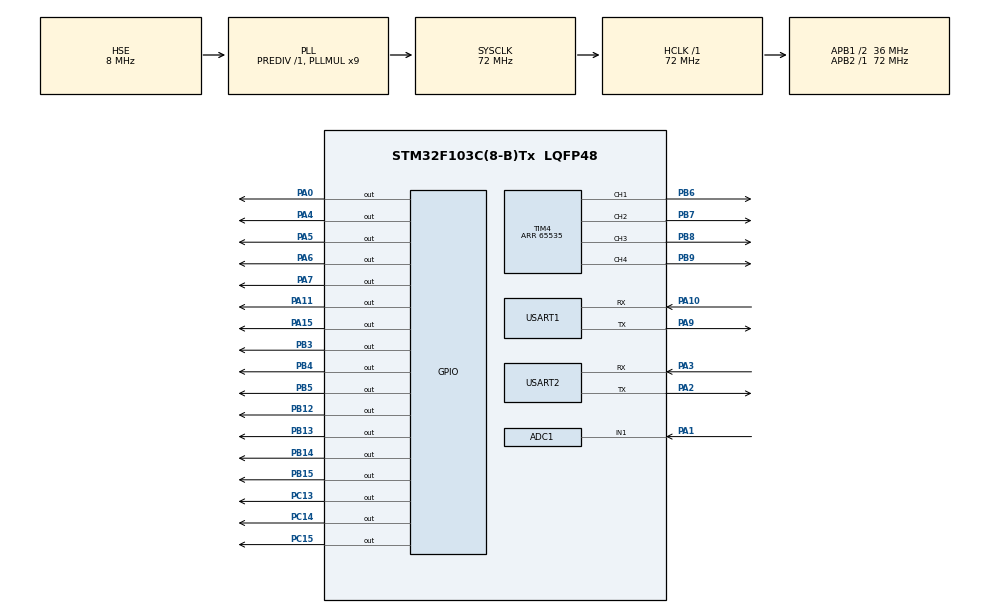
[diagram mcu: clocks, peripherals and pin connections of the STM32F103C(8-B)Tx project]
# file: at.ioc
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ADC1.Channel-0\#ChannelRegularConversion=ADC_CHANNEL_1
ADC1.ContinuousConvMode=ENABLE
ADC1.NbrOfConversionFlag=1
ADC1.Rank-0\#ChannelRegularConversion=1
ADC1.SamplingTime-0\#ChannelRegularConversion=ADC_SAMPLETIME_1CYCLE_5
ADC1.master=1
Mcu.Family=STM32F1
Mcu.Name=STM32F103C(8-B)Tx
Mcu.Package=LQFP48
NVIC.PriorityGroup=NVIC_PRIORITYGROUP_4
PA0-WKUP.Signal=GPIO_Output
PA1.Signal=ADCx_IN1
PA10.Mode=Asynchronous
PA10.Signal=USART1_RX
PA11.Signal=GPIO_Output
PA13.Mode=Serial_Wire
PA13.Signal=SYS_JTMS-SWDIO
PA14.Mode=Serial_Wire
PA14.Signal=SYS_JTCK-SWCLK
PA15.Signal=GPIO_Output
PA2.Mode=Asynchronous
PA2.Signal=USART2_TX
PA3.Mode=Asynchronous
PA3.Signal=USART2_RX
PA4.Signal=GPIO_Output
PA5.Signal=GPIO_Output
PA6.Signal=GPIO_Output
PA7.Signal=GPIO_Output
PA9.Mode=Asynchronous
PA9.Signal=USART1_TX
PB12.Signal=GPIO_Output
PB13.Signal=GPIO_Output
PB14.Signal=GPIO_Output
PB15.Signal=GPIO_Output
PB3.Signal=GPIO_Output
PB4.Signal=GPIO_Output
PB5.Signal=GPIO_Output
PB6.Signal=S_TIM4_CH1
PB7.Signal=S_TIM4_CH2
PB8.Signal=S_TIM4_CH3
PB9.Signal=S_TIM4_CH4
PC13-TAMPER-RTC.Signal=GPIO_Output
PC14-OSC32_IN.Signal=GPIO_Output
PC15-OSC32_OUT.Signal=GPIO_Output
PD0-OSC_IN.Mode=HSE-External-Oscillator
PD0-OSC_IN.Signal=RCC_OSC_IN
PD1-OSC_OUT.Mode=HSE-External-Oscillator
PD1-OSC_OUT.Signal=RCC_OSC_OUT
ProjectManager.HeapSize=0x200
ProjectManager.StackSize=0x400
ProjectManager.TargetToolchain=MDK-ARM V5
RCC.AHBFreq_Value=72000000
RCC.APB1CLKDivider=RCC_HCLK_DIV2
RCC.APB1Freq_Value=36000000
RCC.APB1TimFreq_Value=72000000
RCC.APB2Freq_Value=72000000
RCC.APB2TimFreq_Value=72000000
RCC.HCLKFreq_Value=72000000
RCC.PLLMUL=RCC_PLL_MUL9
RCC.PLLSourceVirtual=RCC_PLLSOURCE_HSE
RCC.SYSCLKFreq_VALUE=72000000
RCC.SYSCLKSource=RCC_SYSCLKSOURCE_PLLCLK
RCC.USBFreq_Value=72000000
SH.ADCx_IN1.0=ADC1_IN1,IN1
SH.S_TIM4_CH1.0=TIM4_CH1,PWM Generation1 CH1
SH.S_TIM4_CH2.0=TIM4_CH2,PWM Generation2 CH2
SH.S_TIM4_CH3.0=TIM4_CH3,PWM Generation3 CH3
SH.S_TIM4_CH4.0=TIM4_CH4,PWM Generation4 CH4
TIM4.Channel-PWM\ Generation1\ CH1=TIM_CHANNEL_1
TIM4.Channel-PWM\ Generation2\ CH2=TIM_CHANNEL_2
TIM4.Channel-PWM\ Generation3\ CH3=TIM_CHANNEL_3
TIM4.Channel-PWM\ Generation4\ CH4=TIM_CHANNEL_4
TIM4.Period=65535
TIM4.Pulse-PWM\ Generation3\ CH3=0
USART1.VirtualMode=VM_ASYNC
USART2.VirtualMode=VM_ASYNC
VP_TIM4_VS_ClockSourceINT.Mode=Internal
board=custom

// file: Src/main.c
/* USER CODE BEGIN Header */
/**
  ******************************************************************************
  * @file           : main.c
  * @brief          : Main program body
  ******************************************************************************
  * @attention
  *
  * <h2><center>&copy; Copyright (c) 2020 STMicroelectronics.
  * All rights reserved.</center></h2>
  *
  * This software component is licensed by ST under BSD 3-Clause license,
  * the "License"; You may not use this file except in compliance with the
  * License. You may obtain a copy of the License at:
  *                        opensource.org/licenses/BSD-3-Clause
  *
  ******************************************************************************
  */
/* USER CODE END Header */

#include "main.h"

ADC_HandleTypeDef hadc1;

TIM_HandleTypeDef htim4;

UART_HandleTypeDef huart1;
UART_HandleTypeDef huart2;

void SystemClock_Config(void);
static void MX_GPIO_Init(void);
static void MX_TIM4_Init(void);
static void MX_USART2_UART_Init(void);
static void MX_USART1_UART_Init(void);
static void MX_ADC1_Init(void);
/* USER CODE BEGIN PFP */

uint8_t buffer,buffer2[3],s,k,d,distance;
int32_t l1,l2,r1,r2;
uint8_t data[];
/* USER CODE END PFP */

/* USER CODE BEGIN 0 */
uint16_t read_adc(int index)
{
	HAL_GPIO_WritePin(GPIOC,GPIO_PIN_14,(index/8)%2); //D
	HAL_GPIO_WritePin(GPIOC,GPIO_PIN_13,(index/4)%2); //C
	HAL_GPIO_WritePin(GPIOC,GPIO_PIN_15,(index/2)%2); //B
	HAL_GPIO_WritePin(GPIOA,GPIO_PIN_0 ,(index/1)%2); //A

	int chanel = 1;
	uint16_t val;
	ADC_ChannelConfTypeDef sconfig;
	sconfig.Channel = chanel;
	sconfig.Rank = 1;
	HAL_ADC_ConfigChannel(&hadc1,&sconfig);
	HAL_ADC_Start(&hadc1);

	HAL_ADC_PollForConversion(&hadc1,100);
	val = HAL_ADC_GetValue(&hadc1);
	HAL_ADC_Stop(&hadc1);
	return val;
}

void step(int32_t st)
	{
		d=20;
		if(st==0){
			HAL_GPIO_WritePin(GPIOA,GPIO_PIN_4,1);
			HAL_GPIO_WritePin(GPIOA,GPIO_PIN_5,0);
			HAL_GPIO_WritePin(GPIOA,GPIO_PIN_6,0);
			HAL_GPIO_WritePin(GPIOA,GPIO_PIN_7,0);
			HAL_Delay(50);
		}
		if(st==1){
			HAL_GPIO_WritePin(GPIOA,GPIO_PIN_4,1);
			HAL_GPIO_WritePin(GPIOA,GPIO_PIN_5,0);
			HAL_GPIO_WritePin(GPIOA,GPIO_PIN_6,1);
			HAL_GPIO_WritePin(GPIOA,GPIO_PIN_7,0);
			HAL_Delay(d);
		}
		if(st==2){
			HAL_GPIO_WritePin(GPIOA,GPIO_PIN_4,0);
			HAL_GPIO_WritePin(GPIOA,GPIO_PIN_5,0);
			HAL_GPIO_WritePin(GPIOA,GPIO_PIN_6,1);
			HAL_GPIO_WritePin(GPIOA,GPIO_PIN_7,0);
			HAL_Delay(d);
		}
		if(st==3){
			HAL_GPIO_WritePin(GPIOA,GPIO_PIN_4,0);
			HAL_GPIO_WritePin(GPIOA,GPIO_PIN_5,1);
			HAL_GPIO_WritePin(GPIOA,GPIO_PIN_6,1);
			HAL_GPIO_WritePin(GPIOA,GPIO_PIN_7,0);
			HAL_Delay(d);
		}
		if(st==4){
			HAL_GPIO_WritePin(GPIOA,GPIO_PIN_4,0);
			HAL_GPIO_WritePin(GPIOA,GPIO_PIN_5,1);
			HAL_GPIO_WritePin(GPIOA,GPIO_PIN_6,0);
			HAL_GPIO_WritePin(GPIOA,GPIO_PIN_7,0);
			HAL_Delay(d);
		}
		if(st==5){
			HAL_GPIO_WritePin(GPIOA,GPIO_PIN_4,0);
			HAL_GPIO_WritePin(GPIOA,GPIO_PIN_5,1);
			HAL_GPIO_WritePin(GPIOA,GPIO_PIN_6,0);
			HAL_GPIO_WritePin(GPIOA,GPIO_PIN_7,1);
			HAL_Delay(d);
		}
		if(st==6){
			HAL_GPIO_WritePin(GPIOA,GPIO_PIN_4,0);
			HAL_GPIO_WritePin(GPIOA,GPIO_PIN_5,0);
			HAL_GPIO_WritePin(GPIOA,GPIO_PIN_6,0);
			HAL_GPIO_WritePin(GPIOA,GPIO_PIN_7,1);
			HAL_Delay(d);
		}
		if(st==7){
			HAL_GPIO_WritePin(GPIOA,GPIO_PIN_4,1);
			HAL_GPIO_WritePin(GPIOA,GPIO_PIN_5,0);
			HAL_GPIO_WritePin(GPIOA,GPIO_PIN_6,0);
			HAL_GPIO_WritePin(GPIOA,GPIO_PIN_7,1);
			HAL_Delay(d);
		}
		if(st==8){
			HAL_GPIO_WritePin(GPIOA,GPIO_PIN_4,0);
			HAL_GPIO_WritePin(GPIOA,GPIO_PIN_5,0);
			HAL_GPIO_WritePin(GPIOA,GPIO_PIN_6,0);
			HAL_GPIO_WritePin(GPIOA,GPIO_PIN_7,0);
		}
	}
void ARM(int32_t arm1,int32_t arm2)
	{
			if(arm1==1)
			{
				HAL_GPIO_WritePin(GPIOB,GPIO_PIN_12,1);
				HAL_GPIO_WritePin(GPIOB,GPIO_PIN_13,0);
			}
			else if(arm1==-1)
			{
				HAL_GPIO_WritePin(GPIOB,GPIO_PIN_12,0);
				HAL_GPIO_WritePin(GPIOB,GPIO_PIN_13,1);
			}
				else if(arm1==0)
					{
				HAL_GPIO_WritePin(GPIOB,GPIO_PIN_12,1);
				HAL_GPIO_WritePin(GPIOB,GPIO_PIN_13,1);
			}
			///////////////////
			if(arm2==1)
			{
				HAL_GPIO_WritePin(GPIOB,GPIO_PIN_14,1);
				HAL_GPIO_WritePin(GPIOB,GPIO_PIN_15,0);
			}
			else if(arm2==-1)
			{
				HAL_GPIO_WritePin(GPIOB,GPIO_PIN_14,0);
				HAL_GPIO_WritePin(GPIOB,GPIO_PIN_15,1);
			}
				else if(arm2==0)
					{
				HAL_GPIO_WritePin(GPIOB,GPIO_PIN_14,1);
				HAL_GPIO_WritePin(GPIOB,GPIO_PIN_15,1);
			}

		}
void motor(int32_t mr1,int32_t mr2,int32_t ml2,int32_t ml1)
	{
		if(mr1>255)  		 mr1=255;
		if(mr2>255)  		 mr2=255;
		if(ml1>255)  		 ml1=255;
		if(ml2>255)  		 ml2=255;

		if(mr1<-255)  		 mr1=-255;
		if(mr2<-255)  		 mr2=-255;
		if(ml1<-255)  		 ml1=-255;
		if(ml2<-255)  		 ml2=-255;
		mr1 *= 65535/255;
		mr2 *= 65535/255;
		ml1 *= 65535/255;
		ml2 *= 65535/255;

		//////////////////////////////////
		if(mr1>0)
		{
			HAL_GPIO_WritePin(GPIOB,GPIO_PIN_5,0);
			TIM4->CCR4=mr1;
		}
		else
		{
			HAL_GPIO_WritePin(GPIOB,GPIO_PIN_5,1);
			TIM4->CCR4=65535+mr1;
		}

		//////////////////////////////
		if(mr2>0)
		{
			HAL_GPIO_WritePin(GPIOB,GPIO_PIN_4,0);
			TIM4->CCR3=mr2;
		}
		else
		{
			HAL_GPIO_WritePin(GPIOB,GPIO_PIN_4,1);
			TIM4->CCR3=65535+mr2;
		}

		///////////////////
		if(ml2>0)
		{
			HAL_GPIO_WritePin(GPIOB,GPIO_PIN_3,0);
			TIM4->CCR2=ml2;
		}
		else
		{
			HAL_GPIO_WritePin(GPIOB,GPIO_PIN_3,1);
			TIM4->CCR2=65535+ml2;
		}
		///////////////////
		if(ml1>0)
		{
			HAL_GPIO_WritePin(GPIOA,GPIO_PIN_15,0);
			TIM4->CCR1=ml1;
		}
		else
		{
			HAL_GPIO_WritePin(GPIOA,GPIO_PIN_15,1);
			TIM4->CCR1=65535+ml1;
		}
	}
/* USER CODE END 0 */

int main(void)
{

  /* MCU Configuration--------------------------------------------------------*/

  /* Reset of all peripherals, Initializes the Flash interface and the Systick. */
  HAL_Init();

  /* Configure the system clock */
  SystemClock_Config();

  /* Initialize all configured peripherals */
  MX_GPIO_Init();
  MX_TIM4_Init();
  MX_USART2_UART_Init();
  MX_USART1_UART_Init();
  MX_ADC1_Init();
  /* USER CODE BEGIN 2 */
		HAL_TIM_PWM_Start(&htim4,TIM_CHANNEL_1);
		HAL_TIM_PWM_Start(&htim4,TIM_CHANNEL_2);
		HAL_TIM_PWM_Start(&htim4,TIM_CHANNEL_3);
		HAL_TIM_PWM_Start(&htim4,TIM_CHANNEL_4);
		for(int i = 0; i < 5; i++)
		{
			HAL_GPIO_WritePin(GPIOA,GPIO_PIN_11,0);
			HAL_Delay(100);
			HAL_GPIO_WritePin(GPIOA,GPIO_PIN_11,1);
			HAL_Delay(100);
		}
  /* USER CODE END 2 */

  /* Infinite loop */
  while (1)
  {

    /* USER CODE BEGIN 3 */
		/*
		data[0] = (read_adc(1)/1000)%10 + '0';
		data[1] = (read_adc(1)/100)%10 + '0';
		data[2] = (read_adc(1)/10)%10 + '0';
		data[3] = (read_adc(1)/1)%10 + '0';
		data[4] = '\n';

		HAL_UART_Transmit(&huart1,data,5,100);
		HAL_Delay(1000);*/

		HAL_UART_Receive(&huart2,&buffer,1,PHY_FULLDUPLEX_100M);

		if(buffer == 'M'){
			HAL_UART_Receive(&huart2,&s,1,PHY_FULLDUPLEX_100M);
			HAL_UART_Receive(&huart2,&buffer,1,PHY_FULLDUPLEX_100M);
			if(s=='-') 			r1=-buffer;
			else  					r1=buffer;
		////////////////
			HAL_UART_Receive(&huart2,&s,1,PHY_FULLDUPLEX_100M);
			HAL_UART_Receive(&huart2,&buffer,1,PHY_FULLDUPLEX_100M);
			if(s=='-') 			r2=-buffer;
			else  					r2=buffer;
		////////////////
			HAL_UART_Receive(&huart2,&s,1,PHY_FULLDUPLEX_100M);
			HAL_UART_Receive(&huart2,&buffer,1,PHY_FULLDUPLEX_100M);
			if(s=='-') 			l2=-buffer;
			else  					l2=buffer;
		////////////////
			HAL_UART_Receive(&huart2,&s,1,PHY_FULLDUPLEX_100M);
			HAL_UART_Receive(&huart2,&buffer,1,PHY_FULLDUPLEX_100M);
			if(s=='-') 			l1=-buffer;
			else  					l1=buffer;
			HAL_UART_Receive(&huart2,&distance,1,PHY_FULLDUPLEX_100M);
			motor(r1,r2,l2,l1);
			if(distance != 0)
			{
				distance /= 3;
				int cnt = 0;
				while(cnt != distance)
				{
					while(read_adc(1) <1000);
					cnt++;
					if(cnt == distance) break;
					while(read_adc(1) >=1000);
					cnt++;
				}
				motor(0,0,0,0);
			}
			data[0] = 'N';
			HAL_UART_Transmit(&huart1,data,1,100);
		}
		else if(buffer == 'A'){
			HAL_UART_Receive(&huart2,&k,1,PHY_FULLDUPLEX_100M);
			if(k=='1')
			{
					HAL_UART_Receive(&huart2,&s,1,PHY_FULLDUPLEX_100M);
					HAL_UART_Receive(&huart2,&buffer,1,PHY_FULLDUPLEX_100M);
					if(s=='+')
						{
							for(int i=0;i<=buffer;i++)
							step(i%7);
						}
					else if(s=='-')
						{
							for(int i=buffer;i>=0;i--)
							step(i%7);
						}
					step(8);
			}
			//////////////////////////////

			else if(k=='2')
			{
					HAL_UART_Receive(&huart2,&buffer,1,PHY_FULLDUPLEX_100M);
					if(buffer=='L')
					{
						HAL_GPIO_WritePin(GPIOB,GPIO_PIN_12,1);
						HAL_GPIO_WritePin(GPIOB,GPIO_PIN_13,0);
					}
					else if(buffer=='R')
					{
						HAL_GPIO_WritePin(GPIOB,GPIO_PIN_12,0);
						HAL_GPIO_WritePin(GPIOB,GPIO_PIN_13,1);
					}
					else if(buffer=='S')
					{
						HAL_GPIO_WritePin(GPIOB,GPIO_PIN_12,1);
						HAL_GPIO_WritePin(GPIOB,GPIO_PIN_13,1);
					}
			}
			//////////////////
			else if(k=='3')
			{
					HAL_UART_Receive(&huart2,&buffer,1,PHY_FULLDUPLEX_100M);
					if(buffer=='L')
					{
						HAL_GPIO_WritePin(GPIOB,GPIO_PIN_14,0);
						HAL_GPIO_WritePin(GPIOB,GPIO_PIN_15,1);
					}
					else if(buffer=='R')
					{
						HAL_GPIO_WritePin(GPIOB,GPIO_PIN_14,1);
						HAL_GPIO_WritePin(GPIOB,GPIO_PIN_15,0);
					}
					else if(buffer=='S')
					{
						HAL_GPIO_WritePin(GPIOB,GPIO_PIN_14,1);
						HAL_GPIO_WritePin(GPIOB,GPIO_PIN_15,1);
					}
			}

		}
  }
  /* USER CODE END 3 */
}

void SystemClock_Config(void)
{
  RCC_OscInitTypeDef RCC_OscInitStruct = {0};
  RCC_ClkInitTypeDef RCC_ClkInitStruct = {0};
  RCC_PeriphCLKInitTypeDef PeriphClkInit = {0};

  /** Initializes the CPU, AHB and APB busses clocks
  */
  RCC_OscInitStruct.OscillatorType = RCC_OSCILLATORTYPE_HSE;
  RCC_OscInitStruct.HSEState = RCC_HSE_ON;
  RCC_OscInitStruct.HSEPredivValue = RCC_HSE_PREDIV_DIV1;
  RCC_OscInitStruct.HSIState = RCC_HSI_ON;
  RCC_OscInitStruct.PLL.PLLState = RCC_PLL_ON;
  RCC_OscInitStruct.PLL.PLLSource = RCC_PLLSOURCE_HSE;
  RCC_OscInitStruct.PLL.PLLMUL = RCC_PLL_MUL9;
  if (HAL_RCC_OscConfig(&RCC_OscInitStruct) != HAL_OK)
  {
    Error_Handler();
  }
  /** Initializes the CPU, AHB and APB busses clocks
  */
  RCC_ClkInitStruct.ClockType = RCC_CLOCKTYPE_HCLK|RCC_CLOCKTYPE_SYSCLK
                              |RCC_CLOCKTYPE_PCLK1|RCC_CLOCKTYPE_PCLK2;
  RCC_ClkInitStruct.SYSCLKSource = RCC_SYSCLKSOURCE_PLLCLK;
  RCC_ClkInitStruct.AHBCLKDivider = RCC_SYSCLK_DIV1;
  RCC_ClkInitStruct.APB1CLKDivider = RCC_HCLK_DIV2;
  RCC_ClkInitStruct.APB2CLKDivider = RCC_HCLK_DIV1;

  if (HAL_RCC_ClockConfig(&RCC_ClkInitStruct, FLASH_LATENCY_2) != HAL_OK)
  {
    Error_Handler();
  }
  PeriphClkInit.PeriphClockSelection = RCC_PERIPHCLK_ADC;
  PeriphClkInit.AdcClockSelection = RCC_ADCPCLK2_DIV2;
  if (HAL_RCCEx_PeriphCLKConfig(&PeriphClkInit) != HAL_OK)
  {
    Error_Handler();
  }
}

static void MX_ADC1_Init(void)
{

  ADC_ChannelConfTypeDef sConfig = {0};

  /** Common config
  */
  hadc1.Instance = ADC1;
  hadc1.Init.ScanConvMode = ADC_SCAN_DISABLE;
  hadc1.Init.ContinuousConvMode = ENABLE;
  hadc1.Init.DiscontinuousConvMode = DISABLE;
  hadc1.Init.ExternalTrigConv = ADC_SOFTWARE_START;
  hadc1.Init.DataAlign = ADC_DATAALIGN_RIGHT;
  hadc1.Init.NbrOfConversion = 1;
  if (HAL_ADC_Init(&hadc1) != HAL_OK)
  {
    Error_Handler();
  }
  /** Configure Regular Channel
  */
  sConfig.Channel = ADC_CHANNEL_1;
  sConfig.Rank = ADC_REGULAR_RANK_1;
  sConfig.SamplingTime = ADC_SAMPLETIME_1CYCLE_5;
  if (HAL_ADC_ConfigChannel(&hadc1, &sConfig) != HAL_OK)
  {
    Error_Handler();
  }

}

static void MX_TIM4_Init(void)
{

  TIM_ClockConfigTypeDef sClockSourceConfig = {0};
  TIM_MasterConfigTypeDef sMasterConfig = {0};
  TIM_OC_InitTypeDef sConfigOC = {0};

  htim4.Instance = TIM4;
  htim4.Init.Prescaler = 0;
  htim4.Init.CounterMode = TIM_COUNTERMODE_UP;
  htim4.Init.Period = 65535;
  htim4.Init.ClockDivision = TIM_CLOCKDIVISION_DIV1;
  htim4.Init.AutoReloadPreload = TIM_AUTORELOAD_PRELOAD_DISABLE;
  if (HAL_TIM_Base_Init(&htim4) != HAL_OK)
  {
    Error_Handler();
  }
  sClockSourceConfig.ClockSource = TIM_CLOCKSOURCE_INTERNAL;
  if (HAL_TIM_ConfigClockSource(&htim4, &sClockSourceConfig) != HAL_OK)
  {
    Error_Handler();
  }
  if (HAL_TIM_PWM_Init(&htim4) != HAL_OK)
  {
    Error_Handler();
  }
  sMasterConfig.MasterOutputTrigger = TIM_TRGO_RESET;
  sMasterConfig.MasterSlaveMode = TIM_MASTERSLAVEMODE_DISABLE;
  if (HAL_TIMEx_MasterConfigSynchronization(&htim4, &sMasterConfig) != HAL_OK)
  {
    Error_Handler();
  }
  sConfigOC.OCMode = TIM_OCMODE_PWM1;
  sConfigOC.Pulse = 0;
  sConfigOC.OCPolarity = TIM_OCPOLARITY_HIGH;
  sConfigOC.OCFastMode = TIM_OCFAST_DISABLE;
  if (HAL_TIM_PWM_ConfigChannel(&htim4, &sConfigOC, TIM_CHANNEL_1) != HAL_OK)
  {
    Error_Handler();
  }
  if (HAL_TIM_PWM_ConfigChannel(&htim4, &sConfigOC, TIM_CHANNEL_2) != HAL_OK)
  {
    Error_Handler();
  }
  if (HAL_TIM_PWM_ConfigChannel(&htim4, &sConfigOC, TIM_CHANNEL_3) != HAL_OK)
  {
    Error_Handler();
  }
  if (HAL_TIM_PWM_ConfigChannel(&htim4, &sConfigOC, TIM_CHANNEL_4) != HAL_OK)
  {
    Error_Handler();
  }
  HAL_TIM_MspPostInit(&htim4);

}

static void MX_USART1_UART_Init(void)
{

  huart1.Instance = USART1;
  huart1.Init.BaudRate = 115200;
  huart1.Init.WordLength = UART_WORDLENGTH_8B;
  huart1.Init.StopBits = UART_STOPBITS_1;
  huart1.Init.Parity = UART_PARITY_NONE;
  huart1.Init.Mode = UART_MODE_TX_RX;
  huart1.Init.HwFlowCtl = UART_HWCONTROL_NONE;
  huart1.Init.OverSampling = UART_OVERSAMPLING_16;
  if (HAL_UART_Init(&huart1) != HAL_OK)
  {
    Error_Handler();
  }

}

static void MX_USART2_UART_Init(void)
{

  huart2.Instance = USART2;
  huart2.Init.BaudRate = 115200;
  huart2.Init.WordLength = UART_WORDLENGTH_8B;
  huart2.Init.StopBits = UART_STOPBITS_1;
  huart2.Init.Parity = UART_PARITY_NONE;
  huart2.Init.Mode = UART_MODE_TX_RX;
  huart2.Init.HwFlowCtl = UART_HWCONTROL_NONE;
  huart2.Init.OverSampling = UART_OVERSAMPLING_16;
  if (HAL_UART_Init(&huart2) != HAL_OK)
  {
    Error_Handler();
  }

}

static void MX_GPIO_Init(void)
{
  GPIO_InitTypeDef GPIO_InitStruct = {0};

  /* GPIO Ports Clock Enable */
  __HAL_RCC_GPIOC_CLK_ENABLE();
  __HAL_RCC_GPIOD_CLK_ENABLE();
  __HAL_RCC_GPIOA_CLK_ENABLE();
  __HAL_RCC_GPIOB_CLK_ENABLE();

  /*Configure GPIO pin Output Level */
  HAL_GPIO_WritePin(GPIOC, GPIO_PIN_13|GPIO_PIN_14|GPIO_PIN_15, GPIO_PIN_RESET);

  /*Configure GPIO pin Output Level */
  HAL_GPIO_WritePin(GPIOA, GPIO_PIN_0|GPIO_PIN_4|GPIO_PIN_5|GPIO_PIN_6
                          |GPIO_PIN_7|GPIO_PIN_11|GPIO_PIN_15, GPIO_PIN_RESET);

  /*Configure GPIO pin Output Level */
  HAL_GPIO_WritePin(GPIOB, GPIO_PIN_12|GPIO_PIN_13|GPIO_PIN_14|GPIO_PIN_15
                          |GPIO_PIN_3|GPIO_PIN_4|GPIO_PIN_5, GPIO_PIN_RESET);

  /*Configure GPIO pins : PC13 PC14 PC15 */
  GPIO_InitStruct.Pin = GPIO_PIN_13|GPIO_PIN_14|GPIO_PIN_15;
  GPIO_InitStruct.Mode = GPIO_MODE_OUTPUT_PP;
  GPIO_InitStruct.Pull = GPIO_NOPULL;
  GPIO_InitStruct.Speed = GPIO_SPEED_FREQ_LOW;
  HAL_GPIO_Init(GPIOC, &GPIO_InitStruct);

  /*Configure GPIO pins : PA0 PA4 PA5 PA6
                           PA7 PA11 PA15 */
  GPIO_InitStruct.Pin = GPIO_PIN_0|GPIO_PIN_4|GPIO_PIN_5|GPIO_PIN_6
                          |GPIO_PIN_7|GPIO_PIN_11|GPIO_PIN_15;
  GPIO_InitStruct.Mode = GPIO_MODE_OUTPUT_PP;
  GPIO_InitStruct.Pull = GPIO_NOPULL;
  GPIO_InitStruct.Speed = GPIO_SPEED_FREQ_LOW;
  HAL_GPIO_Init(GPIOA, &GPIO_InitStruct);

  /*Configure GPIO pins : PB12 PB13 PB14 PB15
                           PB3 PB4 PB5 */
  GPIO_InitStruct.Pin = GPIO_PIN_12|GPIO_PIN_13|GPIO_PIN_14|GPIO_PIN_15
                          |GPIO_PIN_3|GPIO_PIN_4|GPIO_PIN_5;
  GPIO_InitStruct.Mode = GPIO_MODE_OUTPUT_PP;
  GPIO_InitStruct.Pull = GPIO_NOPULL;
  GPIO_InitStruct.Speed = GPIO_SPEED_FREQ_LOW;
  HAL_GPIO_Init(GPIOB, &GPIO_InitStruct);

}

void Error_Handler(void)
{
}

/************************ (C) COPYRIGHT STMicroelectronics *****END OF FILE****/
